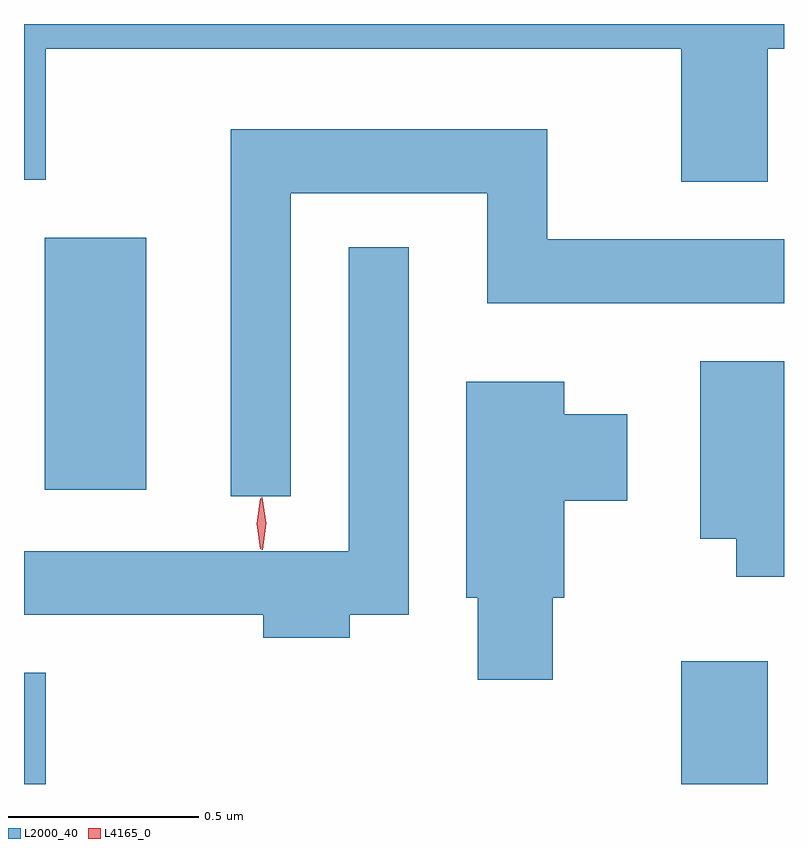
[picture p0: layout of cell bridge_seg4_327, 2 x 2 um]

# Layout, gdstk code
import gdstk
lib = gdstk.Library(unit=1e-6, precision=1e-09)
def R(c, l, rs):  # rectangles x0, y0, x1, y1
    for r in rs: c.add(gdstk.rectangle(r[:2], r[2:], *l))
def P(c, l, *ps):  # polygons
    for p in ps: c.add(gdstk.Polygon(p, *l))
L2000_40 = (2000, 40)
L4165_0 = (4165, 0)

bridge_seg4_327 = lib.new_cell('bridge_seg4_327')
R(bridge_seg4_327, L2000_40, [(723.592,1272.821,723.649,1273.114), (725.321,1272.821,725.549,1273.144), (723.646,1273.596,723.914,1274.259)])
P(bridge_seg4_327, L2000_40, [(725.549,1274.756),(725.592,1274.756),(725.592,1274.821),(723.592,1274.821),(723.592,1274.411),(723.649,1274.411),(723.649,1274.756),(725.321,1274.756),(725.321,1274.406),(725.549,1274.406)],
  [(724.294,1274.376),(724.811,1274.376),(724.811,1274.086),(725.592,1274.086),(725.592,1274.254),(724.969,1274.254),(724.969,1274.544),(724.136,1274.544),(724.136,1273.578),(724.294,1273.578)],
  [(724.449,1273.266),(724.604,1273.266),(724.604,1274.233),(724.446,1274.233),(724.446,1273.434),(723.592,1273.434),(723.592,1273.266),(724.221,1273.266),(724.221,1273.206),(724.449,1273.206)],
  [(725.592,1273.934),(725.371,1273.934),(725.371,1273.466),(725.466,1273.466),(725.466,1273.366),(725.592,1273.366)],
  [(724.984,1273.311),(725.014,1273.311),(725.014,1273.566),(725.179,1273.566),(725.179,1273.794),(725.014,1273.794),(725.014,1273.879),(724.756,1273.879),(724.756,1273.311),(724.786,1273.311),(724.786,1273.096),(724.984,1273.096)])
P(bridge_seg4_327, L4165_0, [(724.215,1273.439),(724.214,1273.44),(724.205,1273.506),(724.214,1273.572),(724.215,1273.573),(724.215,1273.572),(724.225,1273.506),(724.215,1273.44)],
  [(724.219,1273.437),(724.218,1273.438),(724.209,1273.507),(724.218,1273.576),(724.218,1273.576),(724.219,1273.576),(724.229,1273.507),(724.22,1273.438)])

lib.write_gds('bridge_seg4_327.gds')
